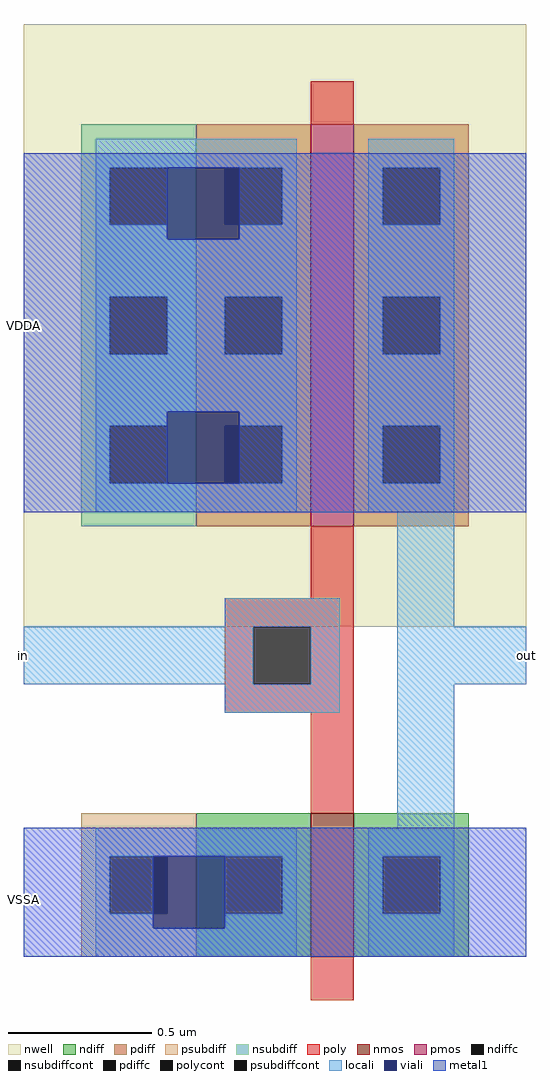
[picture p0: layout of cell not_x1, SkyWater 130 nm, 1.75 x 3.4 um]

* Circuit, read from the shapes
.subckt not_x1 in out VDDA VSSA
XM1 out in VSSA VSSA sky130_fd_pr__nfet_01v8 w=0.5 l=0.15
XM2 out in VDDA VDDA sky130_fd_pr__pfet_01v8 w=1.4 l=0.15
.ends

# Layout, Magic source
magic
tech sky130A
<< nwell >>
rect -100 115 75 325
<< nmos >>
rect 0 0 15 50
<< pmos >>
rect 0 150 15 290
<< ndiff >>
rect -40 35 0 50
rect -40 15 -30 35
rect -10 15 0 35
rect -40 0 0 15
rect 15 35 55 50
rect 15 15 25 35
rect 45 15 55 35
rect 15 0 55 15
<< pdiff >>
rect -40 275 0 290
rect -40 255 -30 275
rect -10 255 0 275
rect -40 230 0 255
rect -40 210 -30 230
rect -10 210 0 230
rect -40 185 0 210
rect -40 165 -30 185
rect -10 165 0 185
rect -40 150 0 165
rect 15 275 55 290
rect 15 255 25 275
rect 45 255 55 275
rect 15 230 55 255
rect 15 210 25 230
rect 45 210 55 230
rect 15 185 55 210
rect 15 165 25 185
rect 45 165 55 185
rect 15 150 55 165
<< ndiffc >>
rect -30 15 -10 35
rect 25 15 45 35
<< pdiffc >>
rect -30 255 -10 275
rect -30 210 -10 230
rect -30 165 -10 185
rect 25 255 45 275
rect 25 210 45 230
rect 25 165 45 185
<< psubdiff >>
rect -80 35 -40 50
rect -80 15 -70 35
rect -50 15 -40 35
rect -80 0 -40 15
<< nsubdiff >>
rect -80 275 -40 290
rect -80 255 -70 275
rect -50 255 -40 275
rect -80 230 -40 255
rect -80 210 -70 230
rect -50 210 -40 230
rect -80 185 -40 210
rect -80 165 -70 185
rect -50 165 -40 185
rect -80 150 -40 165
<< psubdiffcont >>
rect -70 15 -50 35
<< nsubdiffcont >>
rect -70 255 -50 275
rect -70 210 -50 230
rect -70 165 -50 185
<< poly >>
rect 0 290 15 305
rect 0 125 15 150
rect -30 115 15 125
rect -30 95 -20 115
rect 0 95 15 115
rect -30 85 15 95
rect 0 50 15 85
rect 0 -15 15 0
<< polycont >>
rect -20 95 0 115
<< locali >>
rect -75 275 -5 285
rect -75 255 -70 275
rect -10 255 -5 275
rect -75 250 -50 255
rect -25 250 -5 255
rect -75 230 -5 250
rect -75 210 -70 230
rect -50 210 -30 230
rect -10 210 -5 230
rect -75 190 -5 210
rect -75 185 -50 190
rect -25 185 -5 190
rect -75 165 -70 185
rect -10 165 -5 185
rect -75 155 -5 165
rect 20 275 50 285
rect 20 255 25 275
rect 45 255 50 275
rect 20 230 50 255
rect 20 210 25 230
rect 45 210 50 230
rect 20 185 50 210
rect 20 165 25 185
rect 45 165 50 185
rect 20 155 50 165
rect -30 115 10 125
rect -100 95 -20 115
rect 0 95 10 115
rect -30 85 10 95
rect 30 115 50 155
rect 30 95 75 115
rect 30 45 50 95
rect -75 35 -5 45
rect -75 15 -70 35
rect -10 15 -5 35
rect -75 10 -55 15
rect -30 10 -5 15
rect -75 0 -5 10
rect 20 35 50 45
rect 20 15 25 35
rect 45 15 50 35
rect 20 0 50 15
<< viali >>
rect -50 255 -30 275
rect -30 255 -25 275
rect -50 250 -25 255
rect -50 185 -25 190
rect -50 165 -30 185
rect -30 165 -25 185
rect -55 15 -50 35
rect -50 15 -30 35
rect -55 10 -30 15
<< metal1 >>
rect -100 275 75 280
rect -100 250 -50 275
rect -25 250 75 275
rect -100 190 75 250
rect -100 165 -50 190
rect -25 165 75 190
rect -100 155 75 165
rect -100 35 75 45
rect -100 10 -55 35
rect -30 10 75 35
rect -100 0 75 10
<< labels >>
flabel locali -100 105 -100 105 3 FreeSerif 160 0 0 0 in
port 1 e
flabel locali 75 105 75 105 7 FreeSerif 160 0 0 0 out
port 2 w
flabel metal1 -100 220 -100 220 3 FreeSerif 160 0 0 0 VDDA
port 3 e
flabel metal1 -100 20 -100 20 3 FreeSerif 160 0 0 0 VSSA
port 4 e
<< end >>
